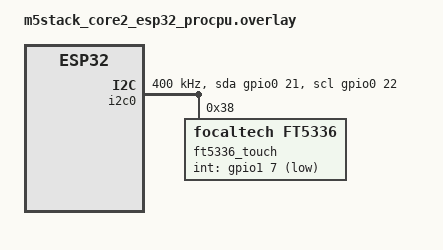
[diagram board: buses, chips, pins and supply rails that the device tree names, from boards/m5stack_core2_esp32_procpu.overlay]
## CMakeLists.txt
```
#REF: https://github.com/zephyrproject-rtos/zephyr/blob/main/samples/basic/threads/prj.conf 
cmake_minimum_required(VERSION 3.20.0)
find_package(Zephyr REQUIRED HINTS $ENV{ZEPHYR_BASE})
project(touchtest)

# Add source files from both gui and haptics modules
target_sources(app PRIVATE 
    src/main.c
)

# Add include directories for both modules
target_include_directories(app PRIVATE 
    src
)
```

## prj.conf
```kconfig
CONFIG_PRINTK=y
CONFIG_GPIO=y

CONFIG_I2C=y
CONFIG_INPUT=y

CONFIG_INPUT_FT5336=y
```

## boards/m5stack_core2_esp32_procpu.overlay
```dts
/*
 * Device tree overlay for M5 Core 2 FT5336 touchscreen
 * Fix I2C configuration issues
 */

&i2c0 {
    status = "okay";
    clock-frequency = <400000>; 
    sda-gpios = <&gpio0 21 (GPIO_OPEN_DRAIN | GPIO_PULL_UP)>;
    scl-gpios = <&gpio0 22 (GPIO_OPEN_DRAIN | GPIO_PULL_UP)>;
    
    ft5336_touch: ft5336@38 {
        compatible = "focaltech,ft5336";
        reg = <0x38>;
        status = "okay";
        int-gpios = <&gpio1 7 GPIO_ACTIVE_LOW>;
        /* Remove reset GPIO for now to avoid AXP192 issues */
    };
};

/* Ensure both GPIO banks are enabled */
&gpio0 {
    status = "okay";
};

&gpio1 {
    status = "okay";
};
```

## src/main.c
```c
#include <zephyr/kernel.h>
#include <zephyr/device.h>
#include <zephyr/input/input.h>


static void touch_input_callback(struct input_event *evt, void *user_data)
{
    static int current_x = 0;
    static int current_y = 0;

    switch (evt->code) {
    case INPUT_ABS_X:
        current_x = evt->value;
        break;
    case INPUT_ABS_Y:
        current_y = evt->value;
        break;
    case INPUT_BTN_TOUCH:
        if (evt->value == 1) {
            printk("Touch PRESSED at (%d, %d)\n", current_x, current_y);
        } else {
            printk("Touch RELEASED at (%d, %d)\n", current_x, current_y);
        }
        break;
    }
}

INPUT_CALLBACK_DEFINE(DEVICE_DT_GET(DT_NODELABEL(ft5336_touch)), 
                      touch_input_callback, NULL);

int main(void)
{
    const struct device *touch_dev;

    printk("M5 Core 2 Touch Test Ready\n");

    /* Verify touchscreen device */
    touch_dev = DEVICE_DT_GET(DT_NODELABEL(ft5336_touch));
    if (!device_is_ready(touch_dev)) {
        printk("Touch device not ready\n");
        return -1;
    }

    /* Main loop - keep application running */
    while (1) {
        k_sleep(K_FOREVER);
    }

    return 0;
}
```
